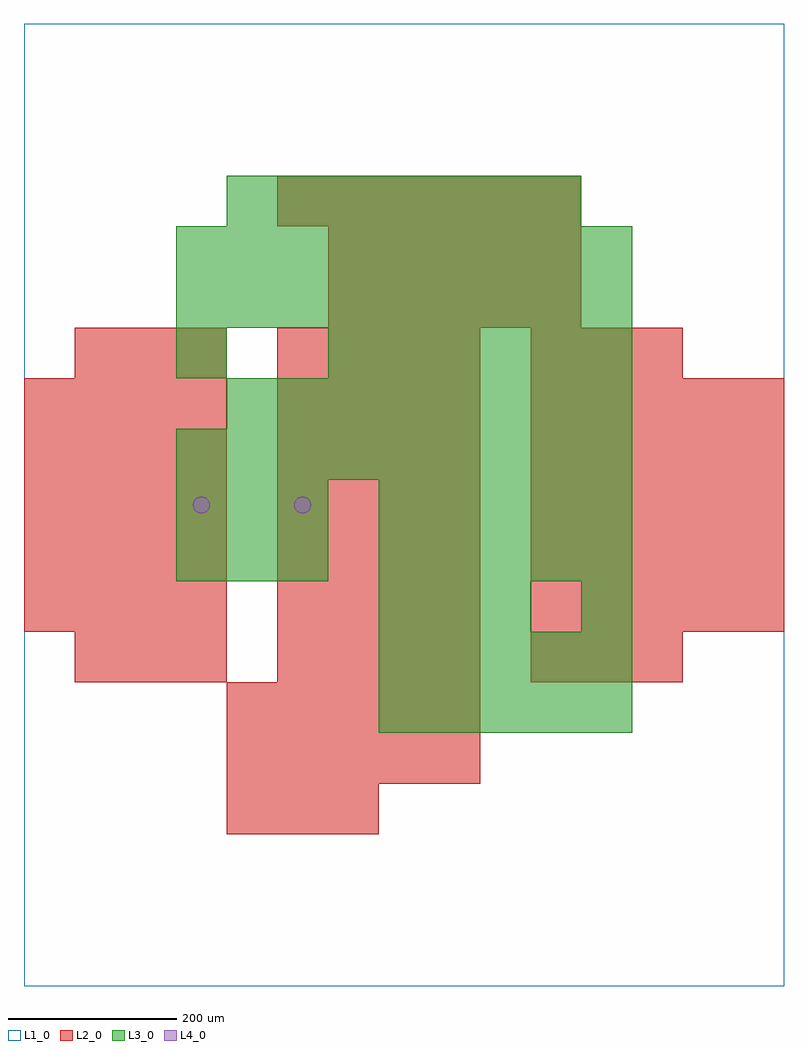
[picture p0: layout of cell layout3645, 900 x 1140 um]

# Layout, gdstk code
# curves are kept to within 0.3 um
import gdstk
lib = gdstk.Library(unit=1e-6, precision=1e-09)
def R(c, l, rs):  # rectangles x0, y0, x1, y1
    for r in rs: c.add(gdstk.rectangle(r[:2], r[2:], *l))
def A(c, l, x, y, w, h, nx, ny, dx, dy):  # array of equal rectangles
    R(c, l, [(x+i*dx, y+j*dy, x+i*dx+w, y+j*dy+h) for i in range(nx) for j in range(ny)])
def P(c, l, *ps):  # polygons
    for p in ps: c.add(gdstk.Polygon(p, *l))
L1_0 = (1, 0)
L2_0 = (2, 0)
L3_0 = (3, 0)
L4_0 = (4, 0)

layout3645 = lib.new_cell('layout3645')
R(layout3645, L1_0, [(0,0,900,1140)])
A(layout3645, L2_0, 240, 180, 60, 60, 3, 1, 60, 0)
A(layout3645, L2_0, 240, 240, 60, 60, 5, 2, 60, 60)
A(layout3645, L2_0, 60, 360, 60, 60, 3, 2, 60, 360)
A(layout3645, L2_0, 300, 360, 60, 60, 4, 7, 60, 60)
A(layout3645, L2_0, 600, 360, 60, 60, 3, 2, 60, 360)
A(layout3645, L2_0, 0, 420, 60, 60, 4, 5, 60, 60)
A(layout3645, L2_0, 600, 420, 60, 60, 5, 5, 60, 60)
A(layout3645, L2_0, 360, 780, 60, 60, 5, 2, 60, 60)
A(layout3645, L2_0, 300, 900, 60, 60, 6, 1, 60, 0)
A(layout3645, L3_0, 420, 300, 60, 60, 5, 2, 60, 60)
A(layout3645, L3_0, 420, 420, 60, 60, 3, 1, 60, 0)
A(layout3645, L3_0, 180, 480, 60, 60, 3, 2, 60, 60)
A(layout3645, L3_0, 420, 480, 60, 60, 5, 2, 60, 60)
A(layout3645, L3_0, 180, 600, 60, 60, 9, 2, 60, 180)
A(layout3645, L3_0, 240, 660, 60, 60, 8, 1, 60, 0)
A(layout3645, L3_0, 360, 720, 60, 60, 6, 1, 60, 0)
A(layout3645, L3_0, 180, 840, 60, 60, 9, 1, 60, 0)
A(layout3645, L3_0, 240, 900, 60, 60, 7, 1, 60, 0)
R(layout3645, L3_0, [(660,420,720,480), (180,720,240,780)])
P(layout3645, L4_0, [(220,570),(219.239,573.827),(217.071,577.071),(213.827,579.239),(210,580),(206.173,579.239),(202.929,577.071),(200.761,573.827),(200,570),(200.761,566.173),(202.929,562.929),(206.173,560.761),(210,560),(213.827,560.761),(217.071,562.929),(219.239,566.173)],
  [(340,570),(339.239,573.827),(337.071,577.071),(333.827,579.239),(330,580),(326.173,579.239),(322.929,577.071),(320.761,573.827),(320,570),(320.761,566.173),(322.929,562.929),(326.173,560.761),(330,560),(333.827,560.761),(337.071,562.929),(339.239,566.173)])

lib.write_gds('layout3645.gds')
